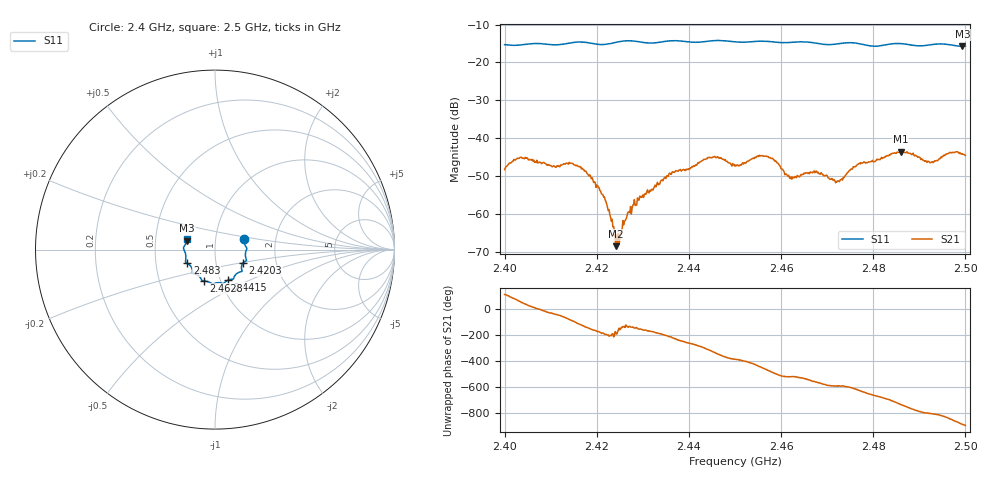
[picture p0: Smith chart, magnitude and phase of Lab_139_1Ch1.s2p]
# Hz S RI R 50
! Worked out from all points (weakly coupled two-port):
!   601 points, 2.4 GHz to 2.5 GHz, reference 50 ohm
!   highest |S21| = -43.50 dB at 2.486 GHz (marker M1); lowest = -68.4 dB at 2.4242 GHz (marker M2)
!   lowest |S11| = -15.7 dB at 2.4993 GHz (marker M3), VSWR 1.39, Z = 36.4 + j3.67 ohm
!   |S11| at or under -10 dB: start of sweep to end of sweep
!   S12 and S22 are empty: the file has one direction only
!   S11 on the Smith chart (normalised r, x): 2.4 GHz: 1.38, +0.16; 2.4203 GHz: 1.35, -0.21; 2.4415 GHz: 1.09, -0.38; 2.4628 GHz: 0.83, -0.30; 2.483 GHz: 0.73, -0.11; 2.5 GHz: 0.73, +0.09
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2.4e9  0.1623 0.0563  -0.00134 0.00364  0 0  0 0
2.403333e9  0.1681 0.0238  0.003 0.00473  0 0  0 0
2.416667e9  0.1753 -0.0619  -0.00215 -0.00333  0 0  0 0
2.420333e9  0.1561 -0.0749  -0.00225 -0.000309  0 0  0 0
2.422167e9  0.1484 -0.0906  -0.00129 0.000419  0 0  0 0
2.424167e9  0.1483 -0.109  -0.000378 4.2e-05  0 0  0 0
2.428333e9  0.1457 -0.1229  -0.00109 -0.00072  0 0  0 0
2.433333e9  0.1086 -0.148  -0.00243 0.000221  0 0  0 0
2.4415e9  0.0735 -0.1692  0.000317 0.00447  0 0  0 0
2.445667e9  0.0499 -0.1878  0.00518 0.00247  0 0  0 0
2.45e9  0.0294 -0.1846  0.00393 -0.00176  0 0  0 0
2.456667e9  -0.0164 -0.1896  -0.00111 -0.0057  0 0  0 0
2.462833e9  -0.0624 -0.1744  -0.00281 -0.0011  0 0  0 0
2.466667e9  -0.0754 -0.167  -0.00351 0.000636  0 0  0 0
2.472333e9  -0.1128 -0.1351  -0.00169 0.00219  0 0  0 0
2.476833e9  -0.1256 -0.1252  -0.000674 0.00457  0 0  0 0
2.483e9  -0.1539 -0.0765  0.00508 0.00307  0 0  0 0
2.483333e9  -0.1561 -0.0755  0.00529 0.00266  0 0  0 0
2.486e9  -0.1643 -0.0666  0.00655 -0.00133  0 0  0 0
2.492667e9  -0.1718 -0.00202  0.00068 -0.00482  0 0  0 0
2.499333e9  -0.1559 0.0491  -0.00601 -0.00187  0 0  0 0
2.5e9  -0.154 0.0578  -0.0059 -0.000878  0 0  0 0
